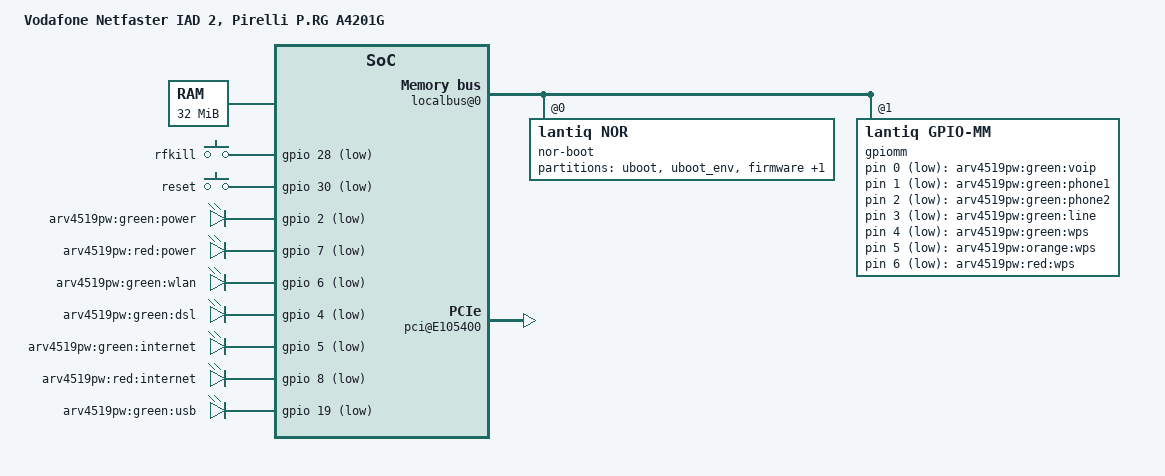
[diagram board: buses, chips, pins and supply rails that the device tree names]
/dts-v1/;

#include "danube.dtsi"

#include <dt-bindings/input/input.h>

/ {
	compatible = "arcadyan,arv4519pw", "lantiq,xway", "lantiq,danube";
	model = "Vodafone Netfaster IAD 2, Pirelli P.RG A4201G";

	chosen {
		bootargs = "console=ttyLTQ0,115200";
	};

	aliases {
		led-boot = &power_green;
		led-failsafe = &power_red;
		led-running = &power_green;

		led-dsl = &dsl;
		led-internet = &internet_green;
		led-usb = &usb;
		led-wifi = &wifi;
	};

	memory@0 {
		reg = <0x0 0x2000000>;
	};

	sram@1F000000 {
		vmmc@107000 {
			status = "okay";
			gpios = <&gpio 31 GPIO_ACTIVE_HIGH>;
		};
	};

	fpi@10000000 {
		localbus@0 {
			nor-boot@0 {
				compatible = "lantiq,nor";
				bank-width = <2>;
				reg = <0 0x0 0x2000000>;
				#address-cells = <1>;
				#size-cells = <1>;

				partitions {
					compatible = "fixed-partitions";
					#address-cells = <1>;
					#size-cells = <1>;

					partition@0 {
						label = "uboot";
						reg = <0x00000 0x10000>;
						read-only;
					};

					partition@10000 {
						label = "uboot_env";
						reg = <0x10000 0x10000>;
					};

					partition@20000 {
						label = "firmware";
						reg = <0x20000 0x3d0000>;
					};

					boardconfig: partition@3f0000 {
						label = "boardconfig";
						reg = <0x3f0000 0x10000>;
						read-only;
					};
				};
			};

			gpiomm: gpiomm@4000000 {
				compatible = "lantiq,gpio-mm";
				reg = <1 0x0 0x10 >;
				#address-cells = <1>;
				#size-cells = <1>;
				#gpio-cells = <2>;
				gpio-controller;
				lantiq,shadow = <0x400>;
			};
		};

		gpio: pinmux@E100B10 {
			pinctrl-names = "default";
			pinctrl-0 = <&state_default>;

			state_default: pinmux {
				ebu {
					lantiq,groups = "ebu cs1";
					lantiq,function = "ebu";
				};
			};
		};

		etop@E180000 {
			phy-mode = "mii";
			mtd-mac-address = <&boardconfig 0x16>;
		};

		ifxhcd@E101000 {
			status = "okay";
			gpios = <&gpio 14 GPIO_ACTIVE_HIGH>;
		};

		pci@E105400 {
			status = "okay";
			lantiq,external-clock;
			gpio-reset = <&gpio 21 GPIO_ACTIVE_HIGH>;
			req-mask = <0xf>;
		};
	};

	gpio-keys-polled {
		compatible = "gpio-keys-polled";
		#address-cells = <1>;
		#size-cells = <0>;
		poll-interval = <100>;

		rfkill {
			label = "rfkill";
			gpios = <&gpio 28 GPIO_ACTIVE_LOW>;
			linux,code = <KEY_RFKILL>;
		};
		reset {
			label = "reset";
			gpios = <&gpio 30 GPIO_ACTIVE_LOW>;
			linux,code = <KEY_RESTART>;
		};
	};

	gpio-leds {
		compatible = "gpio-leds";

		power_green: power {
			label = "arv4519pw:green:power";
			gpios = <&gpio 2 GPIO_ACTIVE_LOW>;
			default-state = "keep";
		};
		power_red: power2 {
			label = "arv4519pw:red:power";
			gpios = <&gpio 7 GPIO_ACTIVE_LOW>;
		};
		wifi: wifi {
			label = "arv4519pw:green:wlan";
			gpios = <&gpio 6 GPIO_ACTIVE_LOW>;
		};
		dsl: dsl {
			label = "arv4519pw:green:dsl";
			gpios = <&gpio 4 GPIO_ACTIVE_LOW>;
		};
		internet_green: online {
			label = "arv4519pw:green:internet";
			gpios = <&gpio 5 GPIO_ACTIVE_LOW>;
		};
		online2 {
			label = "arv4519pw:red:internet";
			gpios = <&gpio 8 GPIO_ACTIVE_LOW>;
		};
		usb: usb {
			label = "arv4519pw:green:usb";
			gpios = <&gpio 19 GPIO_ACTIVE_LOW>;
		};
		voip {
			label = "arv4519pw:green:voip";
			gpios = <&gpiomm 0 GPIO_ACTIVE_LOW>;
		};
		fxs1 {
			label = "arv4519pw:green:phone1";
			gpios = <&gpiomm 1 GPIO_ACTIVE_LOW>;
		};
		fxs2 {
			label = "arv4519pw:green:phone2";
			gpios = <&gpiomm 2 GPIO_ACTIVE_LOW>;
		};
		fxo {
			label = "arv4519pw:green:line";
			gpios = <&gpiomm 3 GPIO_ACTIVE_LOW>;
		};
		wps2 {
			label = "arv4519pw:green:wps";
			gpios = <&gpiomm 4 GPIO_ACTIVE_LOW>;
		};
		wps {
			label = "arv4519pw:orange:wps";
			gpios = <&gpiomm 5 GPIO_ACTIVE_LOW>;
		};
		wps3 {
			label = "arv4519pw:red:wps";
			gpios = <&gpiomm 6 GPIO_ACTIVE_LOW>;
		};
	};
};
